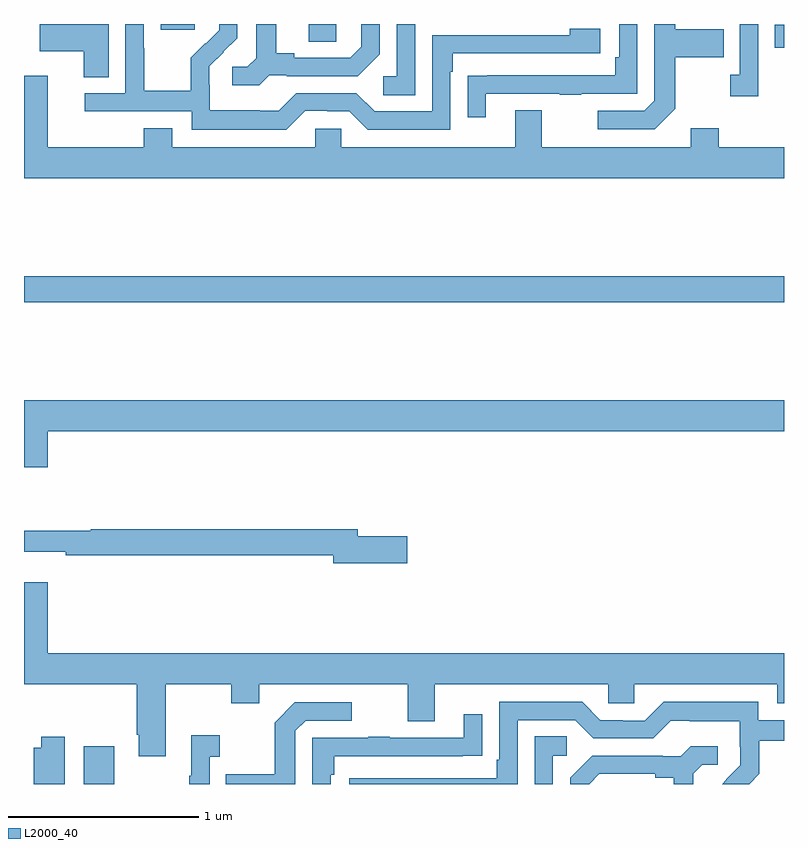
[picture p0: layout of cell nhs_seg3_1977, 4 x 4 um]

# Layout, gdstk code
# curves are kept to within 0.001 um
import gdstk
lib = gdstk.Library(unit=1e-6, precision=1e-09)
def R(c, l, rs):  # rectangles x0, y0, x1, y1
    for r in rs: c.add(gdstk.rectangle(r[:2], r[2:], *l))
def P(c, l, *ps):  # polygons
    for p in ps: c.add(gdstk.Polygon(p, *l))
L2000_40 = (2000, 40)

nhs_seg3_1977 = lib.new_cell('nhs_seg3_1977')
R(nhs_seg3_1977, L2000_40, [(213.314,692.4,213.475,692.599), (213,694.936,217,695.072), (216.951,696.275,217,696.397), (214.499,696.307,214.644,696.4), (213.719,696.369,213.898,696.4)])
P(nhs_seg3_1977, L2000_40, [(215.431,696.033),(215.821,696.033),(215.821,696.028),(215.933,696.028),(215.933,696.033),(216.228,696.033),(216.228,696.4),(216.132,696.4),(216.132,696.226),(216.112,696.226),(216.112,696.129),(215.437,696.129),(215.437,696.128),(215.335,696.128),(215.335,695.91),(215.431,695.91)],
  [(214.479,695.943),(214.595,695.943),(214.595,695.94),(214.713,695.94),(214.809,695.844),(215.244,695.844),(215.244,696.149),(215.257,696.149),(215.257,696.246),(216.034,696.246),(216.034,696.376),(215.873,696.376),(215.873,696.342),(215.148,696.342),(215.148,695.94),(214.845,695.94),(214.749,696.036),(214.434,696.036),(214.341,695.943),(214.241,695.943),(214.241,695.947),(213.978,695.947),(213.978,696.081),(213.976,696.081),(213.976,696.178),(214.122,696.326),(214.122,696.4),(214.028,696.4),(214.028,696.368),(213.957,696.297),(213.954,696.3),(213.877,696.223),(213.877,696.049),(213.633,696.049),(213.633,696.272),(213.63,696.272),(213.63,696.4),(213.534,696.4),(213.534,696.036),(213.321,696.036),(213.321,695.94),(213.882,695.94),(213.882,695.843),(214.379,695.843)],
  [(215.058,696.4),(214.962,696.4),(214.962,696.126),(214.89,696.126),(214.89,696.025),(215.058,696.025)],
  [(216.427,695.953),(216.427,696.226),(216.683,696.226),(216.683,696.373),(216.427,696.373),(216.427,696.4),(216.318,696.4),(216.318,695.997),(216.264,695.943),(216.021,695.943),(216.021,695.847),(216.321,695.847)],
  [(213.445,696.4),(213.084,696.4),(213.084,696.257),(213.314,696.257),(213.314,696.121),(213.445,696.121)],
  [(216.864,696.4),(216.768,696.4),(216.768,696.134),(216.717,696.134),(216.717,696.021),(216.864,696.021)],
  [(214.29,696.129),(214.384,696.129),(214.384,696.126),(214.756,696.126),(214.872,696.242),(214.872,696.4),(214.775,696.4),(214.775,696.279),(214.718,696.222),(214.423,696.222),(214.423,696.245),(214.327,696.245),(214.327,696.4),(214.223,696.4),(214.223,696.221),(214.176,696.174),(214.095,696.174),(214.095,696.077),(214.238,696.077)],
  [(217,695.752),(216.657,695.752),(216.657,695.851),(216.509,695.851),(216.509,695.752),(215.725,695.752),(215.725,695.947),(215.585,695.947),(215.585,695.752),(214.671,695.752),(214.671,695.85),(214.533,695.85),(214.533,695.752),(213.781,695.752),(213.781,695.851),(213.629,695.851),(213.629,695.752),(213.124,695.752),(213.124,696.127),(213,696.127),(213,695.588),(217,695.588)],
  [(213.124,694.256),(217,694.256),(217,694.42),(213,694.42),(213,694.068),(213.124,694.068)],
  [(215.017,693.704),(214.756,693.704),(214.756,693.74),(213.352,693.74),(213.352,693.733),(213,693.733),(213,693.623),(213.22,693.623),(213.22,693.604),(214.628,693.604),(214.628,693.562),(215.017,693.562)],
  [(213.124,693.463),(213,693.463),(213,692.924),(213.593,692.924),(213.593,692.659),(213.605,692.659),(213.605,692.547),(213.745,692.547),(213.745,692.924),(214.09,692.924),(214.09,692.825),(214.237,692.825),(214.237,692.924),(215.021,692.924),(215.021,692.73),(215.161,692.73),(215.161,692.924),(216.075,692.924),(216.075,692.826),(216.213,692.826),(216.213,692.924),(216.965,692.924),(216.965,692.825),(217,692.825),(217,693.088),(213.124,693.088)],
  [(215.598,692.736),(215.901,692.736),(215.997,692.64),(216.312,692.64),(216.405,692.733),(216.505,692.733),(216.505,692.729),(216.768,692.729),(216.768,692.595),(216.77,692.595),(216.77,692.498),(216.696,692.424),(216.697,692.423),(216.674,692.4),(216.816,692.4),(216.869,692.453),(216.869,692.628),(217,692.628),(217,692.736),(216.864,692.736),(216.864,692.833),(216.367,692.833),(216.267,692.733),(216.152,692.733),(216.152,692.736),(216.033,692.736),(215.937,692.832),(215.502,692.832),(215.502,692.527),(215.489,692.527),(215.489,692.43),(214.713,692.43),(214.713,692.4),(215.598,692.4)],
  [(214.428,692.679),(214.482,692.733),(214.726,692.733),(214.726,692.829),(214.425,692.829),(214.32,692.723),(214.32,692.451),(214.063,692.451),(214.063,692.4),(214.428,692.4)],
  [(214.614,692.45),(214.634,692.45),(214.634,692.547),(215.309,692.547),(215.309,692.548),(215.411,692.548),(215.411,692.767),(215.315,692.767),(215.315,692.643),(214.925,692.643),(214.925,692.648),(214.813,692.648),(214.813,692.643),(214.518,692.643),(214.518,692.4),(214.614,692.4)],
  [(213.978,692.543),(214.03,692.543),(214.03,692.656),(213.881,692.656),(213.881,692.443),(213.87,692.443),(213.87,692.4),(213.978,692.4)],
  [(215.784,692.55),(215.857,692.55),(215.857,692.651),(215.688,692.651),(215.688,692.4),(215.784,692.4)],
  [(213.214,692.65),(213.092,692.65),(213.092,692.59),(213.052,692.59),(213.052,692.4),(213.214,692.4)],
  [(216.028,692.454),(216.323,692.454),(216.323,692.432),(216.419,692.432),(216.419,692.4),(216.523,692.4),(216.523,692.455),(216.57,692.502),(216.652,692.502),(216.652,692.599),(216.508,692.599),(216.456,692.547),(216.362,692.547),(216.362,692.55),(215.99,692.55),(215.874,692.434),(215.874,692.4),(215.974,692.4)])

lib.write_gds('nhs_seg3_1977.gds')
